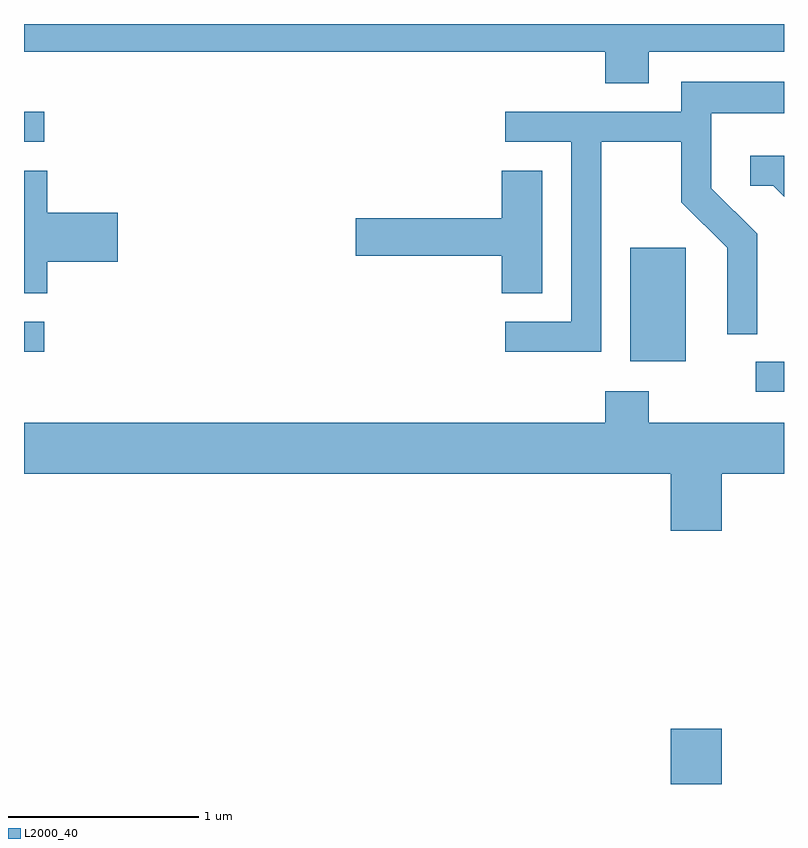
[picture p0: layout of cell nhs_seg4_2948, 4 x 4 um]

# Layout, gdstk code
import gdstk
lib = gdstk.Library(unit=1e-6, precision=1e-09)
def R(c, l, rs):  # rectangles x0, y0, x1, y1
    for r in rs: c.add(gdstk.rectangle(r[:2], r[2:], *l))
def P(c, l, *ps):  # polygons
    for p in ps: c.add(gdstk.Polygon(p, *l))
L2000_40 = (2000, 40)

nhs_seg4_2948 = lib.new_cell('nhs_seg4_2948')
R(nhs_seg4_2948, L2000_40, [(275.016,1301.982,275.284,1302.274), (275.463,1304.046,275.611,1304.204), (274.801,1304.206,275.094,1304.804), (271.611,1304.256,271.718,1304.414), (271.611,1305.361,271.718,1305.519)])
P(nhs_seg4_2948, L2000_40, [(274.899,1305.836),(275.611,1305.836),(275.611,1305.982),(271.611,1305.982),(271.611,1305.836),(274.671,1305.836),(274.671,1305.671),(274.899,1305.671)],
  [(274.649,1305.361),(275.071,1305.361),(275.071,1305.044),(275.311,1304.804),(275.311,1304.348),(275.469,1304.348),(275.469,1304.877),(275.229,1305.117),(275.229,1305.511),(275.611,1305.511),(275.611,1305.679),(275.071,1305.679),(275.071,1305.519),(274.143,1305.519),(274.143,1305.361),(274.491,1305.361),(274.491,1304.414),(274.143,1304.414),(274.143,1304.256),(274.649,1304.256)],
  [(275.611,1305.289),(275.433,1305.289),(275.433,1305.131),(275.554,1305.131),(275.611,1305.074)],
  [(274.339,1305.209),(274.126,1305.209),(274.126,1304.959),(273.356,1304.959),(273.356,1304.761),(274.126,1304.761),(274.126,1304.566),(274.339,1304.566)],
  [(271.734,1304.731),(272.104,1304.731),(272.104,1304.989),(271.734,1304.989),(271.734,1305.209),(271.611,1305.209),(271.611,1304.566),(271.734,1304.566)],
  [(274.899,1304.049),(274.671,1304.049),(274.671,1303.884),(271.611,1303.884),(271.611,1303.616),(275.016,1303.616),(275.016,1303.316),(275.284,1303.316),(275.284,1303.616),(275.611,1303.616),(275.611,1303.884),(274.899,1303.884)])

lib.write_gds('nhs_seg4_2948.gds')
